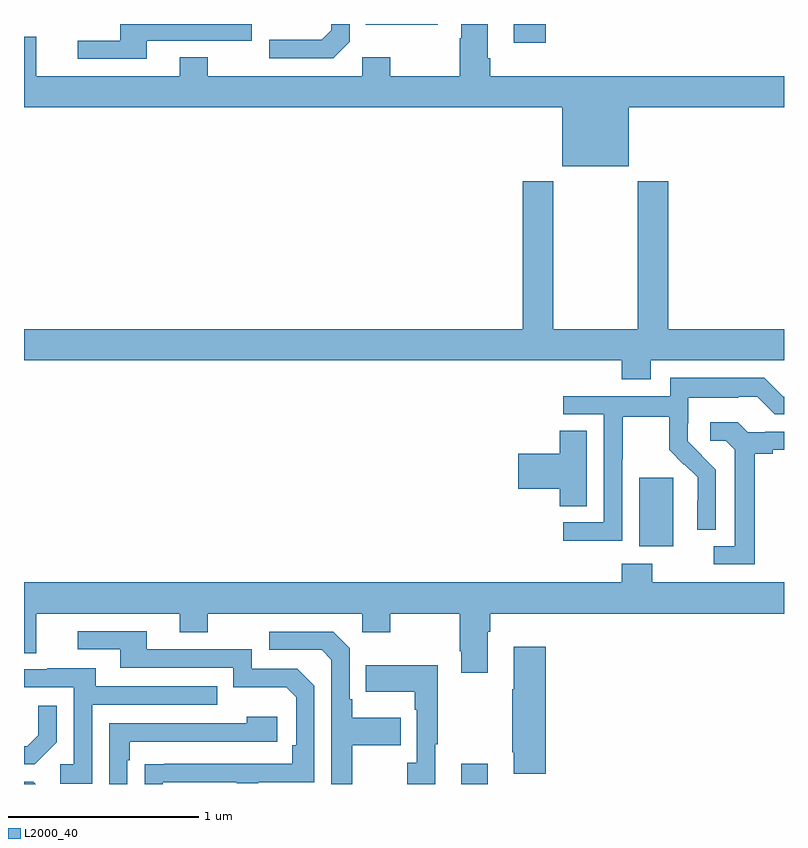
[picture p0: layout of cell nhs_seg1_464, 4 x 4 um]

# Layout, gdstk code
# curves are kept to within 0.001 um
import gdstk
lib = gdstk.Library(unit=1e-6, precision=1e-09)
def R(c, l, rs):  # rectangles x0, y0, x1, y1
    for r in rs: c.add(gdstk.rectangle(r[:2], r[2:], *l))
def P(c, l, *ps):  # polygons
    for p in ps: c.add(gdstk.Polygon(p, *l))
L2000_40 = (2000, 40)

nhs_seg1_464 = lib.new_cell('nhs_seg1_464')
R(nhs_seg1_464, L2000_40, [(139.301,520.199,139.441,520.306), (140.237,521.45,140.416,521.811), (139.577,524.1,139.745,524.199), (138.799,524.195,139.177,524.199)])
P(nhs_seg1_464, L2000_40, [(138.714,524.106),(138.714,524.199),(138.618,524.199),(138.618,524.166),(138.567,524.115),(138.291,524.115),(138.291,524.019),(138.627,524.019)],
  [(137.647,524.112),(138.198,524.112),(138.198,524.199),(137.507,524.199),(137.507,524.112),(137.283,524.112),(137.283,524.016),(137.647,524.016)],
  [(140.182,523.76),(141,523.76),(141,523.924),(139.454,523.924),(139.454,524.02),(139.441,524.02),(139.441,524.199),(139.301,524.199),(139.301,524.123),(139.294,524.123),(139.294,523.924),(138.927,523.924),(138.927,524.023),(138.78,524.023),(138.78,523.924),(137.967,523.924),(137.967,524.023),(137.819,524.023),(137.819,523.924),(137.065,523.924),(137.065,524.132),(137,524.132),(137,523.76),(139.832,523.76),(139.832,523.451),(140.182,523.451)],
  [(140.299,522.428),(141,522.428),(141,522.592),(140.39,522.592),(140.39,523.371),(140.23,523.371),(140.23,522.592),(139.785,522.592),(139.785,523.371),(139.625,523.371),(139.625,522.592),(137,522.592),(137,522.428),(140.147,522.428),(140.147,522.329),(140.299,522.329)],
  [(140.148,521.908),(140.151,521.908),(140.151,522.132),(140.395,522.132),(140.395,521.957),(140.472,521.88),(140.475,521.883),(140.546,521.813),(140.546,521.69),(140.544,521.69),(140.544,521.536),(140.64,521.536),(140.64,521.854),(140.494,522.002),(140.494,522.099),(140.496,522.099),(140.496,522.233),(140.759,522.233),(140.759,522.237),(140.859,522.237),(140.952,522.144),(141,522.144),(141,522.237),(140.997,522.237),(140.897,522.337),(140.4,522.337),(140.4,522.24),(139.839,522.24),(139.839,522.144),(140.052,522.144),(140.052,521.577),(139.839,521.577),(139.839,521.479),(140.148,521.479)],
  [(140.845,521.936),(140.941,521.936),(140.941,521.958),(141,521.958),(141,522.054),(140.902,522.054),(140.902,522.051),(140.808,522.051),(140.756,522.103),(140.613,522.103),(140.613,522.006),(140.694,522.006),(140.741,521.959),(140.741,521.451),(140.631,521.451),(140.631,521.355),(140.845,521.355)],
  [(139.963,522.059),(139.82,522.059),(139.82,521.936),(139.602,521.936),(139.602,521.753),(139.82,521.753),(139.82,521.662),(139.963,521.662)],
  [(139.441,521),(139.454,521),(139.454,521.096),(141,521.096),(141,521.26),(140.307,521.26),(140.307,521.359),(140.147,521.359),(140.147,521.26),(137,521.26),(137,520.888),(137.065,520.888),(137.065,521.096),(137.819,521.096),(137.819,520.997),(137.967,520.997),(137.967,521.096),(138.78,521.096),(138.78,520.997),(138.927,520.997),(138.927,521.096),(139.294,521.096),(139.294,520.897),(139.301,520.897),(139.301,520.785),(139.441,520.785)],
  [(137.731,520.209),(138.121,520.209),(138.121,520.204),(138.233,520.204),(138.233,520.209),(138.528,520.209),(138.528,520.716),(138.438,520.806),(138.198,520.806),(138.198,520.908),(137.647,520.908),(137.647,521.004),(137.283,521.004),(137.283,520.908),(137.507,520.908),(137.507,520.812),(138.102,520.812),(138.102,520.709),(138.379,520.709),(138.432,520.656),(138.432,520.402),(138.412,520.402),(138.412,520.305),(137.635,520.304),(137.635,520.199),(137.731,520.199)],
  [(138.727,520.402),(138.983,520.402),(138.983,520.549),(138.727,520.549),(138.727,520.645),(138.714,520.645),(138.714,520.914),(138.627,521.001),(138.291,521.001),(138.291,520.905),(138.567,520.905),(138.618,520.854),(138.618,520.199),(138.727,520.199)],
  [(139.745,520.921),(139.577,520.921),(139.577,520.697),(139.57,520.697),(139.57,520.366),(139.577,520.366),(139.577,520.254),(139.745,520.254)],
  [(139.165,520.409),(139.177,520.409),(139.177,520.825),(138.799,520.825),(138.799,520.685),(139.056,520.685),(139.056,520.589),(139.068,520.589),(139.068,520.31),(139.017,520.31),(139.017,520.199),(139.165,520.199)],
  [(137.358,520.617),(138.017,520.617),(138.017,520.713),(137.377,520.713),(137.377,520.807),(137.123,520.807),(137.123,520.803),(137,520.803),(137,520.707),(137.262,520.707),(137.262,520.302),(137.19,520.302),(137.19,520.201),(137.358,520.201)],
  [(137.172,520.418),(137.172,520.612),(137.075,520.612),(137.075,520.455),(137.018,520.398),(137,520.398),(137,520.302),(137.056,520.302)],
  [(137.544,520.325),(137.557,520.325),(137.557,520.422),(138.334,520.422),(138.334,520.552),(138.173,520.552),(138.173,520.518),(137.448,520.518),(137.448,520.199),(137.544,520.199)],
  [(137.049,520.212),(137,520.212),(137,520.199),(137.062,520.199)])

lib.write_gds('nhs_seg1_464.gds')
